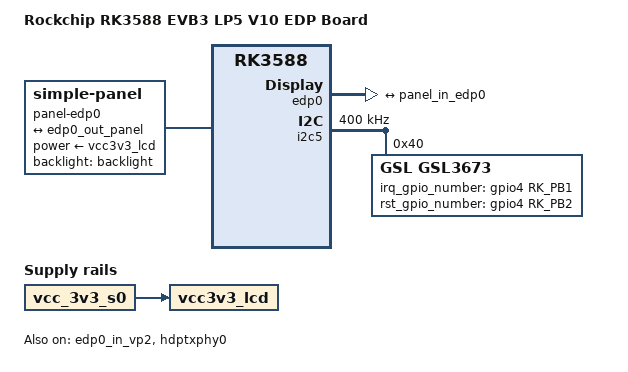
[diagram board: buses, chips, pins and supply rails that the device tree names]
// SPDX-License-Identifier: (GPL-2.0+ OR MIT)
// Copyright (c) 2021 Rockchip Electronics Co., Ltd.

/dts-v1/;

#include "rk3588-evb3-lp5.dtsi"
#include "rk3588-linux.dtsi"

/ {
	model = "Rockchip RK3588 EVB3 LP5 V10 EDP Board";
	compatible = "rockchip,rk3588-evb3-lp5-v10-edp-linux", "rockchip,rk3588";

	panel-edp0 {
		compatible = "simple-panel";
		backlight = <&backlight>;
		power-supply = <&vcc3v3_lcd>;
		prepare-delay-ms = <120>;
		enable-delay-ms = <120>;
		unprepare-delay-ms = <120>;
		disable-delay-ms = <120>;
		width-mm = <129>;
		height-mm = <171>;

		panel-timing {
			clock-frequency = <200000000>;
			hactive = <1536>;
			vactive = <2048>;
			hfront-porch = <12>;
			hsync-len = <16>;
			hback-porch = <48>;
			vfront-porch = <8>;
			vsync-len = <4>;
			vback-porch = <8>;
			hsync-active = <0>;
			vsync-active = <0>;
			de-active = <0>;
			pixelclk-active = <0>;
		};

		port {
			panel_in_edp0: endpoint {
				remote-endpoint = <&edp0_out_panel>;
			};
		};
	};

	vcc3v3_lcd: vcc3v3-lcd {
		compatible = "regulator-fixed";
		regulator-name = "vcc3v3_lcd";
		vin-supply = <&vcc_3v3_s0>;
	};
};

&backlight {
	enable-gpios = <&gpio1 RK_PC4 GPIO_ACTIVE_HIGH>;
};

&dsi0 {
	status = "disabled";
};

&edp0 {
	force-hpd;
	status = "okay";

	ports {
		port@1 {
			reg = <1>;

			edp0_out_panel: endpoint {
				remote-endpoint = <&panel_in_edp0>;
			};
		};
	};
};

&edp0_in_vp2 {
	status = "okay";
};

&gt1x {
	status = "disabled";
};

&hdptxphy0 {
	lane-polarity-invert = <0 1 0 0>;
	status = "okay";
};

&i2c5 {
	clock-frequency = <400000>;
	status = "okay";

	gsl3673@40 {
		compatible = "GSL,GSL3673";
		reg = <0x40>;
		screen_max_x = <1536>;
		screen_max_y = <2048>;
		irq_gpio_number = <&gpio4 RK_PB1 IRQ_TYPE_LEVEL_LOW>;
		rst_gpio_number = <&gpio4 RK_PB2 GPIO_ACTIVE_HIGH>;
	};
};

&pwm15 {
	pinctrl-0 = <&pwm15m1_pins>;
};

&vcc3v3_lcd_n {
	/delete-property/ gpio;
};
